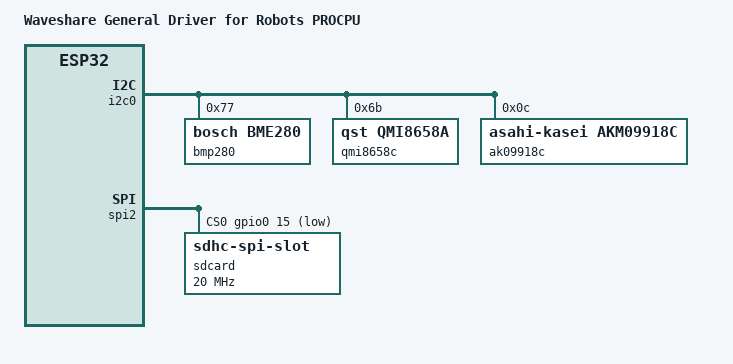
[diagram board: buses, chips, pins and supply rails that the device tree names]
/dts-v1/;

#include <espressif/esp32/esp32.dtsi>
#include <espressif/partitions_0x1000_amp_16M.dtsi>
#include "general_driver-pinctrl.dtsi"
#include "waveshare_driver_common.dtsi"

/ {
	model = "Waveshare General Driver for Robots PROCPU";
};

/* 16MB flash on the WROOM-32UE-N16; the SoC dtsi no longer sets reg or ranges
 * (upstream 8094e612 removed the per-module SoC dtsi files). Partitions come
 * from partitions_0x1000_amp_16M.dtsi, included above.
 */
&flash0 {
	reg = <0x0 DT_SIZE_M(16)>;
	ranges = <0x0 0x0 DT_SIZE_M(16)>;
	status = "okay";
};

&i2c0 {
	/* BMP280 barometric pressure/temperature sensor (SDO high => 0x77).
	 * The BME280 driver also drives the BMP280 (it dispatches on chip id).
	 * NOTE (2026-08-03): not fitted on the unit tested here -- `i2c scan` finds
	 * nothing at either 0x77 or 0x76, so this device stays DISABLED and every
	 * `sensor get bmp280` fails. Left enabled for board variants that do carry
	 * it; set status = "disabled" if none of yours do. */
	bmp280: bmp280@77 {
		compatible = "bosch,bme280";
		reg = <0x77>;
	};

	/* QMI8658C 6-axis IMU. SA0 is pulled HIGH on this board, so the address is
	 * 0x6b, not the 0x6a the datasheet lists first -- at 0x6a the driver's
	 * WHO_AM_I read got no reply and the device stayed DISABLED (visible only
	 * via `device list`, since a failed sensor init is not otherwise announced).
	 * Confirmed with `i2c scan i2c@3ff53000`: 0x0c, 0x3c, 0x42, 0x6b respond.
	 * The qst,qmi8658a driver matches the C variant: same register map and
	 * WHO_AM_I (0x05). Data-ready INT is not wired, so the driver runs in
	 * polling mode (QMI8658A_TRIGGER_NONE). */
	qmi8658c: qmi8658c@6b {
		compatible = "qst,qmi8658a";
		reg = <0x6b>;
	};

	/* AK09918C 3-axis magnetometer. Fixed I2C address 0x0c (no address-select
	 * pins on the part). Polling mode; DRDY not wired. */
	ak09918c: ak09918c@c {
		compatible = "asahi-kasei,akm09918c";
		reg = <0x0c>;
	};
};

&spi2 {
	/* MicroSD card in SPI mode: SCLK=GPIO14, MOSI(CMD)=GPIO13, MISO(D0)=GPIO12.
	 * The SD CD/DAT3 pin is the chip-select on GPIO15, driven as a GPIO (see the
	 * pinctrl note) so it stays asserted across the SD SPI command sequences. */
	cs-gpios = <&gpio0 15 GPIO_ACTIVE_LOW>;

	sdcard: sdhc@0 {
		compatible = "zephyr,sdhc-spi-slot";
		reg = <0>;
		status = "okay";
		spi-max-frequency = <20000000>;

		mmc {
			compatible = "zephyr,sdmmc-disk";
			disk-name = "SD";
			status = "okay";
		};
	};
};
